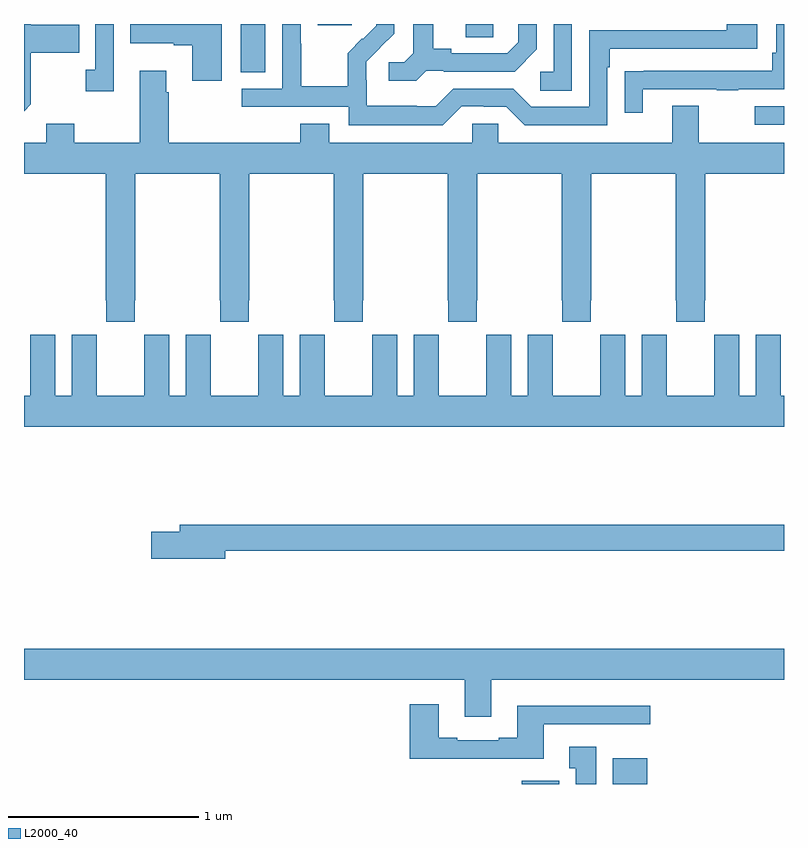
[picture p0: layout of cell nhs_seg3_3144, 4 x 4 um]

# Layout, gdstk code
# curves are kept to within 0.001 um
import gdstk
lib = gdstk.Library(unit=1e-6, precision=1e-09)
def R(c, l, rs):  # rectangles x0, y0, x1, y1
    for r in rs: c.add(gdstk.rectangle(r[:2], r[2:], *l))
def P(c, l, *ps):  # polygons
    for p in ps: c.add(gdstk.Polygon(p, *l))
L2000_40 = (2000, 40)

nhs_seg3_3144 = lib.new_cell('nhs_seg3_3144')
R(nhs_seg3_3144, L2000_40, [(277.619,668.4,277.816,668.416), (278.099,668.4,278.281,668.536), (278.847,671.871,279,671.967), (276.14,672.145,276.271,672.4), (277.325,672.331,277.47,672.4), (276.545,672.393,276.724,672.4)])
P(nhs_seg3_3144, L2000_40, [(277.116,672.153),(277.21,672.153),(277.21,672.15),(277.582,672.15),(277.698,672.266),(277.698,672.4),(277.601,672.4),(277.601,672.303),(277.544,672.246),(277.249,672.246),(277.249,672.269),(277.153,672.269),(277.153,672.4),(277.049,672.4),(277.049,672.245),(277.002,672.198),(276.921,672.198),(276.921,672.101),(277.064,672.101)],
  [(277.305,671.967),(277.421,671.967),(277.421,671.964),(277.539,671.964),(277.635,671.868),(278.07,671.868),(278.07,672.173),(278.083,672.173),(278.083,672.27),(278.86,672.27),(278.86,672.4),(278.699,672.4),(278.699,672.366),(277.974,672.366),(277.974,671.964),(277.671,671.964),(277.575,672.06),(277.26,672.06),(277.167,671.967),(277.067,671.967),(277.067,671.971),(276.804,671.971),(276.804,672.105),(276.802,672.105),(276.802,672.202),(276.948,672.35),(276.948,672.4),(276.854,672.4),(276.854,672.392),(276.783,672.321),(276.78,672.324),(276.703,672.247),(276.703,672.073),(276.459,672.073),(276.459,672.296),(276.456,672.296),(276.456,672.4),(276.36,672.4),(276.36,672.06),(276.147,672.06),(276.147,671.964),(276.708,671.964),(276.708,671.867),(277.205,671.867)],
  [(278.257,672.057),(278.647,672.057),(278.647,672.052),(278.759,672.052),(278.759,672.057),(279,672.057),(279,672.4),(278.958,672.4),(278.958,672.25),(278.938,672.25),(278.938,672.153),(278.263,672.153),(278.263,672.152),(278.161,672.152),(278.161,671.934),(278.257,671.934)],
  [(276.04,672.4),(275.559,672.4),(275.559,672.299),(275.789,672.299),(275.789,672.287),(275.885,672.287),(275.885,672.102),(276.04,672.102)],
  [(275.472,672.4),(275.376,672.4),(275.376,672.158),(275.325,672.158),(275.325,672.045),(275.472,672.045)],
  [(275.035,671.977),(275.035,672.25),(275.291,672.25),(275.291,672.397),(275.035,672.397),(275.035,672.4),(275,672.4),(275,671.942)],
  [(277.884,672.4),(277.788,672.4),(277.788,672.15),(277.716,672.15),(277.716,672.049),(277.884,672.049)],
  [(275.583,670.945),(275.586,670.945),(275.586,671.612),(276.031,671.612),(276.031,670.945),(276.033,670.945),(276.033,670.833),(276.183,670.833),(276.183,670.945),(276.186,670.945),(276.186,671.612),(276.631,671.612),(276.631,670.945),(276.633,670.945),(276.633,670.833),(276.783,670.833),(276.783,670.945),(276.786,670.945),(276.786,671.612),(277.231,671.612),(277.231,670.945),(277.233,670.945),(277.233,670.833),(277.383,670.833),(277.383,670.945),(277.386,670.945),(277.386,671.612),(277.831,671.612),(277.831,670.945),(277.833,670.945),(277.833,670.833),(277.983,670.833),(277.983,670.945),(277.986,670.945),(277.986,671.612),(278.431,671.612),(278.431,670.945),(278.433,670.945),(278.433,670.833),(278.583,670.833),(278.583,670.945),(278.586,670.945),(278.586,671.612),(279,671.612),(279,671.776),(278.551,671.776),(278.551,671.971),(278.411,671.971),(278.411,671.776),(277.497,671.776),(277.497,671.874),(277.359,671.874),(277.359,671.776),(276.607,671.776),(276.607,671.875),(276.455,671.875),(276.455,671.776),(275.762,671.776),(275.762,672.041),(275.749,672.041),(275.749,672.154),(275.609,672.154),(275.609,671.776),(275.265,671.776),(275.265,671.875),(275.117,671.875),(275.117,671.776),(275,671.776),(275,671.612),(275.431,671.612),(275.431,670.945),(275.433,670.945),(275.433,670.833),(275.583,670.833)],
  [(278.982,670.652),(278.982,670.765),(278.852,670.765),(278.852,670.444),(278.764,670.444),(278.764,670.765),(278.634,670.765),(278.634,670.652),(278.633,670.652),(278.633,670.444),(278.383,670.444),(278.383,670.652),(278.382,670.652),(278.382,670.765),(278.252,670.765),(278.252,670.444),(278.164,670.444),(278.164,670.765),(278.034,670.765),(278.034,670.652),(278.033,670.652),(278.033,670.444),(277.783,670.444),(277.783,670.652),(277.782,670.652),(277.782,670.765),(277.652,670.765),(277.652,670.444),(277.564,670.444),(277.564,670.765),(277.434,670.765),(277.434,670.652),(277.433,670.652),(277.433,670.444),(277.183,670.444),(277.183,670.652),(277.182,670.652),(277.182,670.765),(277.052,670.765),(277.052,670.444),(276.964,670.444),(276.964,670.765),(276.834,670.765),(276.834,670.652),(276.833,670.652),(276.833,670.444),(276.583,670.444),(276.583,670.652),(276.582,670.652),(276.582,670.765),(276.452,670.765),(276.452,670.444),(276.364,670.444),(276.364,670.765),(276.234,670.765),(276.234,670.652),(276.233,670.652),(276.233,670.444),(275.983,670.444),(275.983,670.652),(275.982,670.652),(275.982,670.765),(275.852,670.765),(275.852,670.444),(275.764,670.444),(275.764,670.765),(275.634,670.765),(275.634,670.652),(275.633,670.652),(275.633,670.444),(275.383,670.444),(275.383,670.652),(275.382,670.652),(275.382,670.765),(275.252,670.765),(275.252,670.444),(275.164,670.444),(275.164,670.765),(275.034,670.765),(275.034,670.652),(275.033,670.652),(275.033,670.444),(275,670.444),(275,670.28),(279,670.28),(279,670.444),(278.983,670.444),(278.983,670.652)],
  [(276.058,669.628),(279,669.628),(279,669.764),(275.819,669.764),(275.819,669.728),(275.67,669.728),(275.67,669.586),(276.058,669.586)],
  [(277.459,668.948),(279,668.948),(279,669.112),(275,669.112),(275,668.948),(277.319,668.948),(277.319,668.754),(277.459,668.754)],
  [(277.735,668.715),(278.296,668.715),(278.296,668.812),(277.595,668.812),(277.595,668.644),(277.499,668.644),(277.499,668.631),(277.279,668.631),(277.279,668.644),(277.183,668.644),(277.183,668.821),(277.031,668.821),(277.031,668.534),(277.735,668.534)],
  [(278.011,668.596),(277.871,668.596),(277.871,668.483),(277.904,668.483),(277.904,668.4),(278.011,668.4)])

lib.write_gds('nhs_seg3_3144.gds')
